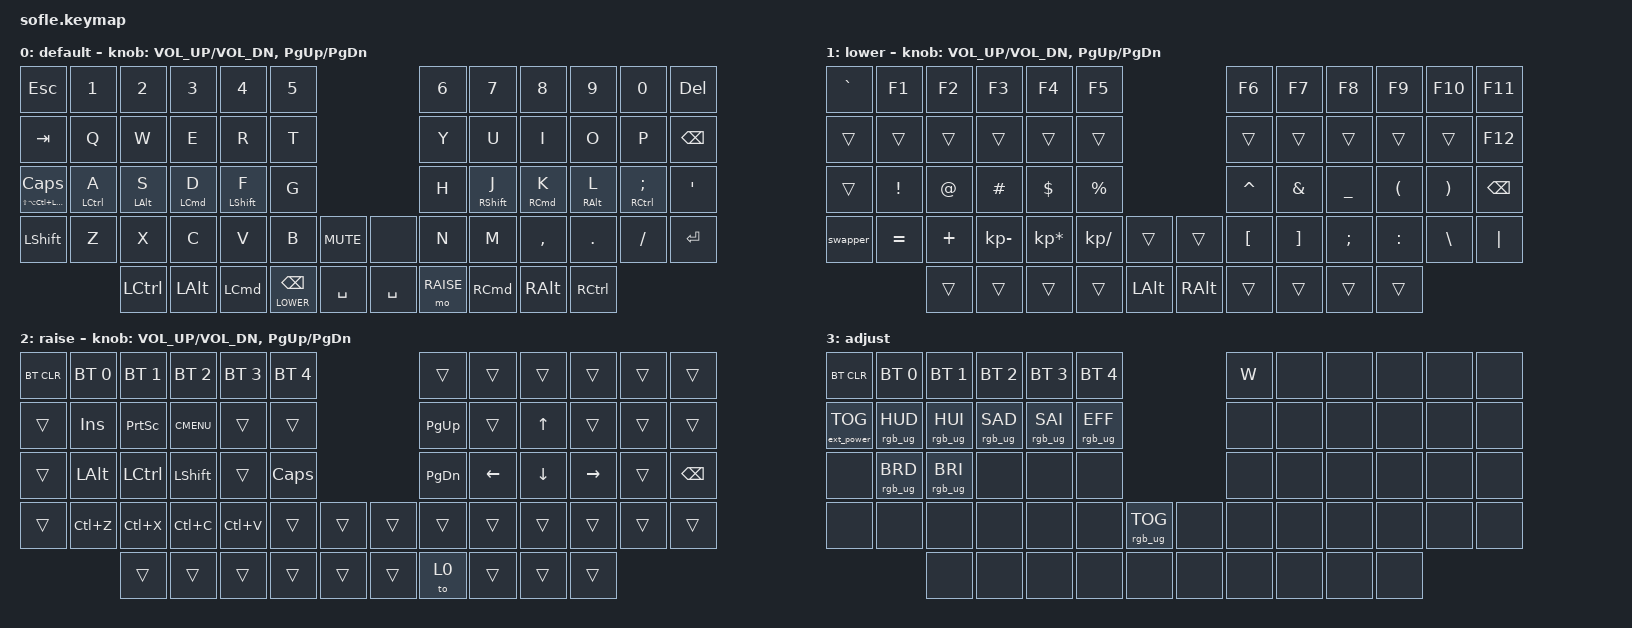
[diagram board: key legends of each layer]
/*
 * Copyright (c) 2020 The ZMK Contributors
 *
 * SPDX-License-Identifier: MIT
 */

#include <behaviors.dtsi>
#include <dt-bindings/zmk/bt.h>
#include <dt-bindings/zmk/ext_power.h>
#include <dt-bindings/zmk/keys.h>
#include <dt-bindings/zmk/rgb.h>
#include "zmk-helpers/key-labels/sofle.h"                                      // Source key-labels.

#define KEYS_L LT0 LT1 LT2 LT3 LT4 LT5 LM0 LM1 LM2 LM3 LM4 LM5 LB0 LB1 LB2 LB3 LB4 LB5 // Left-hand keys.
#define KEYS_R RT0 RT1 RT2 RT3 RT4 RT5 RM0 RM1 RM2 RM3 RM4 RM5 RB0 RB1 RB2 RB3 RB4 RB5 // Right-hand keys.
#define THUMBS LH4 LH3 LH2 LH0 RH0 RH2 RH3 RH4                                      // Thumb keys.
#define BASE 0
#define LOWER 1
#define RAISE 2
#define ADJUST 3

/ {
    // Activate ADJUST layer by pressing raise and lower

    conditional_layers {
        compatible = "zmk,conditional-layers";

        adjust_layer {
            if-layers = <LOWER RAISE>;
            then-layer = <ADJUST>;
        };
    };

    keymap {
        compatible = "zmk,keymap";

        default_layer {
            label = "default";

            // ------------------------------------------------------------------------------------------------------------
            // |   `   |  1  |  2  |  3   |  4   |  5   |                   |  6   |  7    |  8    |  9   |   0   |       |
            // |  ESC  |  Q  |  W  |  E   |  R   |  T   |                   |  Y   |  U    |  I    |  O   |   P   | BKSPC |
            // |  TAB  |  A  |  S  |  D   |  F   |  G   |                   |  H   |  J    |  K    |  L   |   ;   |   '   |
            // | SHIFT |  Z  |  X  |  C   |  V   |  B   |  MUTE  |  |       |  N   |  M    |  ,    |  .   |   /   | SHIFT |
            //               | GUI | ALT  | CTRL | LOWER|  ENTER |  | SPACE | RAISE| CTRL  | ALT   | GUI  |

            bindings = <
&kp ESC                        &kp N1        &kp N2       &kp N3       &kp N4        &kp N5                                        &kp N6     &kp N7        &kp N8       &kp N9       &kp N0                &kp DELETE
&kp TAB                        &kp Q         &kp W        &kp E        &kp R         &kp T                                         &kp Y      &kp U         &kp I        &kp O        &kp P                 &kp BSPC
&mt LS(LA(LC(LEFT_GUI))) CAPS  &hml LCTRL A  &hml LALT S  &hml LCMD D  &hml LSHFT F  &kp G                                         &kp H      &hmr RSHFT J  &hmr RCMD K  &hmr RALT L  &hmr RCTRL SEMICOLON  &kp SQT
&kp LSHFT                      &kp Z         &kp X        &kp C        &kp V         &kp B                &kp C_MUTE    &none      &kp N      &kp M         &kp COMMA    &kp DOT      &kp FSLH              &kp ENTER
                                             &kp LCTRL    &kp LALT     &kp LCMD      &lt LOWER BACKSPACE  &kp SPACE     &kp SPACE  &mo RAISE  &kp RCMD      &kp RALT     &kp RCTRL
            >;

            sensor-bindings = <&inc_dec_kp C_VOL_UP C_VOL_DN &inc_dec_kp PG_UP PG_DN>;
        };

        lower_layer {
            label = "lower";

            // TODO: Some binds are waiting for shifted keycode support.
            // ------------------------------------------------------------------------------------------------------------
            // |       |  F1 |  F2 |  F3  |  F4  |  F5  |                   |  F6  |  F7   |  F8   |  F9  |  F10  |  F11  |
            // |   `   |  1  |  2  |  3   |  4   |  5   |                   |  6   |  7    |  8    |  9   |   0   |  F12  |
            // |       |  !  |  @  |  #   |  $   |  %   |                   |  ^   |  &    |  *    |  (   |   )   |   |   |
            // |       |  =  |  -  |  +   |  {   |  }   |        |  |       |  [   |  ]    |  ;    |  :   |   \   |       |
            //               |     |      |      |      |        |  |       |      |       |       |      |

            bindings = <
&kp GRAVE  &kp F1     &kp F2    &kp F3           &kp F4           &kp F5                                   &kp F6     &kp F7    &kp F8     &kp F9     &kp F10   &kp F11
&trans     &trans     &trans    &trans           &trans           &trans                                   &trans     &trans    &trans     &trans     &trans    &kp F12
&trans     &kp EXCL   &kp AT    &kp HASH         &kp DLLR         &kp PRCNT                                &kp CARET  &kp AMPS  &kp UNDER  &kp LPAR   &kp RPAR  &kp BACKSPACE
&swapper   &kp EQUAL  &kp PLUS  &kp KP_SUBTRACT  &kp KP_MULTIPLY  &kp KP_SLASH  &trans      &trans         &kp LBKT   &kp RBKT  &kp SEMI   &kp COLON  &kp BSLH  &kp PIPE
                      &trans    &trans           &trans           &trans        &kp LALT    &kp RIGHT_ALT  &trans     &trans    &trans     &trans
            >;

            sensor-bindings = <&inc_dec_kp C_VOL_UP C_VOL_DN &inc_dec_kp PG_UP PG_DN>;
        };

        raise_layer {
            label = "raise";

            // ------------------------------------------------------------------------------------------------------------
            // | BTCLR | BT1  | BT2  |  BT3  |  BT4  |  BT5 |                |      |      |       |      |       |       |
            // |       | INS  | PSCR | GUI   |       |      |                | PGUP |      |   ^   |      |       |       |
            // |       | ALT  | CTRL | SHIFT |       | CAPS |                | PGDN |   <- |   v   |  ->  |  DEL  | BKSPC |
            // |       | UNDO | CUT  | COPY  | PASTE |      |      |  |      |      |      |       |      |       |       |
            //                |      |       |       |      |      |  |      |      |      |       |      |

            bindings = <
&bt BT_CLR  &bt BT_SEL 0  &bt BT_SEL 1  &bt BT_SEL 2  &bt BT_SEL 3  &bt BT_SEL 4                    &trans     &trans    &trans    &trans     &trans  &trans
&trans      &kp INS       &kp PSCRN     &kp K_CMENU   &trans        &trans                          &kp PG_UP  &trans    &kp UP    &trans     &trans  &trans
&trans      &kp LALT      &kp LCTRL     &kp LSHFT     &trans        &kp CLCK                        &kp PG_DN  &kp LEFT  &kp DOWN  &kp RIGHT  &trans  &kp BSPC
&trans      &kp LC(Z)     &kp LC(X)     &kp LC(C)     &kp LC(V)     &trans        &trans    &trans  &trans     &trans    &trans    &trans     &trans  &trans
                          &trans        &trans        &trans        &trans        &trans    &trans  &to 0      &trans    &trans    &trans
            >;

            sensor-bindings = <&inc_dec_kp C_VOL_UP C_VOL_DN &inc_dec_kp PG_UP PG_DN>;
        };

        adjust_layer {
            // ----------------------------------------------------------------------------------------------------------------------------
            // | BTCLR  |  BT1    |  BT2    |   BT3   |   BT4   |   BT5   |                  |      |      |       |      |       |       |
            // | EXTPWR | RGB_HUD | RGB_HUI | RGB_SAD | RGB_SAI | RGB_EFF |                  |      |      |       |      |       |       |
            // |        | RGB_BRD | RGB_BRI |         |         |         |                  |      |      |       |      |       |       |
            // |        |         |         |         |         |         | RGB_TOG | |      |      |      |       |      |       |       |
            //                    |         |         |         |         |         | |      |      |      |       |      |

            label = "adjust";
            bindings = <
&bt BT_CLR         &bt BT_SEL 0     &bt BT_SEL 1     &bt BT_SEL 2     &bt BT_SEL 3     &bt BT_SEL 4                               &kp W  &none  &none  &none  &none  &none
&ext_power EP_TOG  &rgb_ug RGB_HUD  &rgb_ug RGB_HUI  &rgb_ug RGB_SAD  &rgb_ug RGB_SAI  &rgb_ug RGB_EFF                            &none  &none  &none  &none  &none  &none
&none              &rgb_ug RGB_BRD  &rgb_ug RGB_BRI  &none            &none            &none                                      &none  &none  &none  &none  &none  &none
&none              &none            &none            &none            &none            &none            &rgb_ug RGB_TOG    &none  &none  &none  &none  &none  &none  &none
                                    &none            &none            &none            &none            &none              &none  &none  &none  &none  &none
            >;
        };
    };
};

/ {
    behaviors {
        hml: home_row_mod_left {
            compatible = "zmk,behavior-hold-tap";
            #binding-cells = <2>;
            flavor = "balanced";
            require-prior-idle-ms = <150>;
            tapping-term-ms = <280>;
            quick-tap-ms = <175>;
            bindings = <&kp>, <&kp>;

            hold-trigger-key-positions = < KEYS_R THUMBS >; // List of keys on the right side of the keyboard
            hold-trigger-on-release;
        };

        hmr: home_row_mod_right {
            compatible = "zmk,behavior-hold-tap";
            #binding-cells = <2>;
            flavor = "balanced";
            require-prior-idle-ms = <150>;
            tapping-term-ms = <280>;
            quick-tap-ms = <175>;
            bindings = <&kp>, <&kp>;

            hold-trigger-key-positions = < KEYS_L THUMBS >; // List of keys on the left side of the keyboard
            hold-trigger-on-release;
        };
    };
};

// Alt+Tab swapper

/ {
    behaviors {
        swapper: swapper {
            compatible = "zmk,behavior-tri-state";
            #binding-cells = <0>;
            bindings = <&kt LALT>, <&kp TAB>, <&kt LALT>;
        };
    };
};
